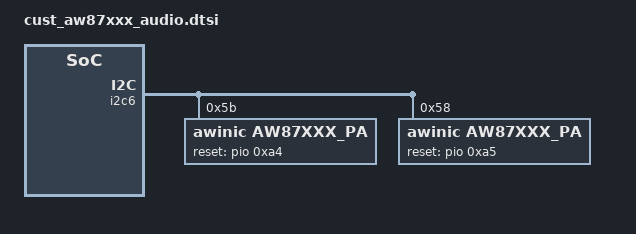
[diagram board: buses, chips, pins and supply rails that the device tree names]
// SPDX-License-Identifier: GPL-2.0-only
/* Redmi Note 12S (sea / mt6781) Awinic AW87xxx SmartPA I2C6 bindings for Kernel 6.6 */

&i2c6 {
    aw87xxx_pa@5B {
        compatible = "awinic,aw87xxx_pa";
        reg = <0x5b>;
        reset-gpio = <&pio 0xa4 0x0>;
        dev_index = <0x0>;
        status = "okay";
    };
    aw87xxx_pa@58 {
        compatible = "awinic,aw87xxx_pa";
        reg = <0x58>;
        reset-gpio = <&pio 0xa5 0x0>;
        dev_index = <0x1>;
        status = "okay";
    };
};
